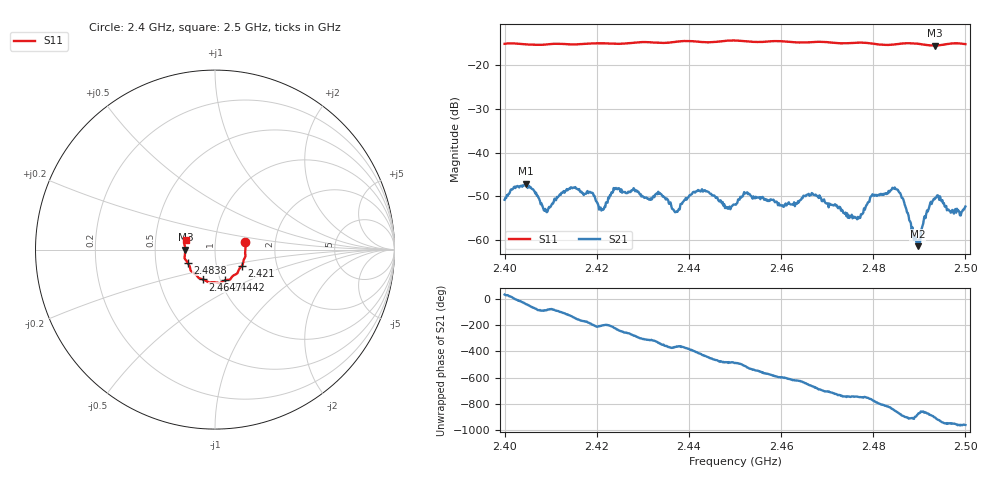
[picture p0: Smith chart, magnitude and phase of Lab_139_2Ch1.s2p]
# Hz S RI R
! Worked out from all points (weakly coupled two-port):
!   601 points, 2.4 GHz to 2.5 GHz, reference 50 ohm
!   highest |S21| = -47.09 dB at 2.4047 GHz (marker M1); lowest = -61.3 dB at 2.4897 GHz (marker M2)
!   lowest |S11| = -15.6 dB at 2.4933 GHz (marker M3), VSWR 1.40, Z = 35.8 + j0.0182 ohm
!   |S11| at or under -10 dB: start of sweep to end of sweep
!   S12 and S22 are empty: the file has one direction only
!   S11 on the Smith chart (normalised r, x): 2.4 GHz: 1.40, +0.12; 2.421 GHz: 1.33, -0.24; 2.4442 GHz: 1.05, -0.37; 2.4647 GHz: 0.83, -0.29; 2.4838 GHz: 0.73, -0.11; 2.5 GHz: 0.71, +0.08
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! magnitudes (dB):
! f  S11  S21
! 2.4 GHz  -15.2  -50.8
! 2.4047 GHz  -15.4  -47.1
! 2.409 GHz  -15.4  -53.4
! 2.414 GHz  -15.4  -48.2
! 2.4167 GHz  -15.3  -48.9
! 2.421 GHz  -15.1  -53.2
! 2.4242 GHz  -15.2  -48.1
! 2.4333 GHz  -15.0  -48.9
! 2.4372 GHz  -14.8  -53.6
! 2.4442 GHz  -14.9  -48.9
! 2.45 GHz  -14.5  -51.9
! 2.4525 GHz  -14.7  -49.2
! 2.4647 GHz  -14.9  -50.4
! 2.4667 GHz  -14.8  -49.2
! 2.4767 GHz  -15.0  -54.7
! 2.4798 GHz  -15.2  -49.5
! 2.4833 GHz  -15.5  -48.8
! 2.4838 GHz  -15.4  -48.6
! 2.4862 GHz  -15.2  -50.3
! 2.4897 GHz  -15.2  -61.3
! 2.4933 GHz  -15.6  -50.6
! 2.5 GHz  -15.3  -52.3
